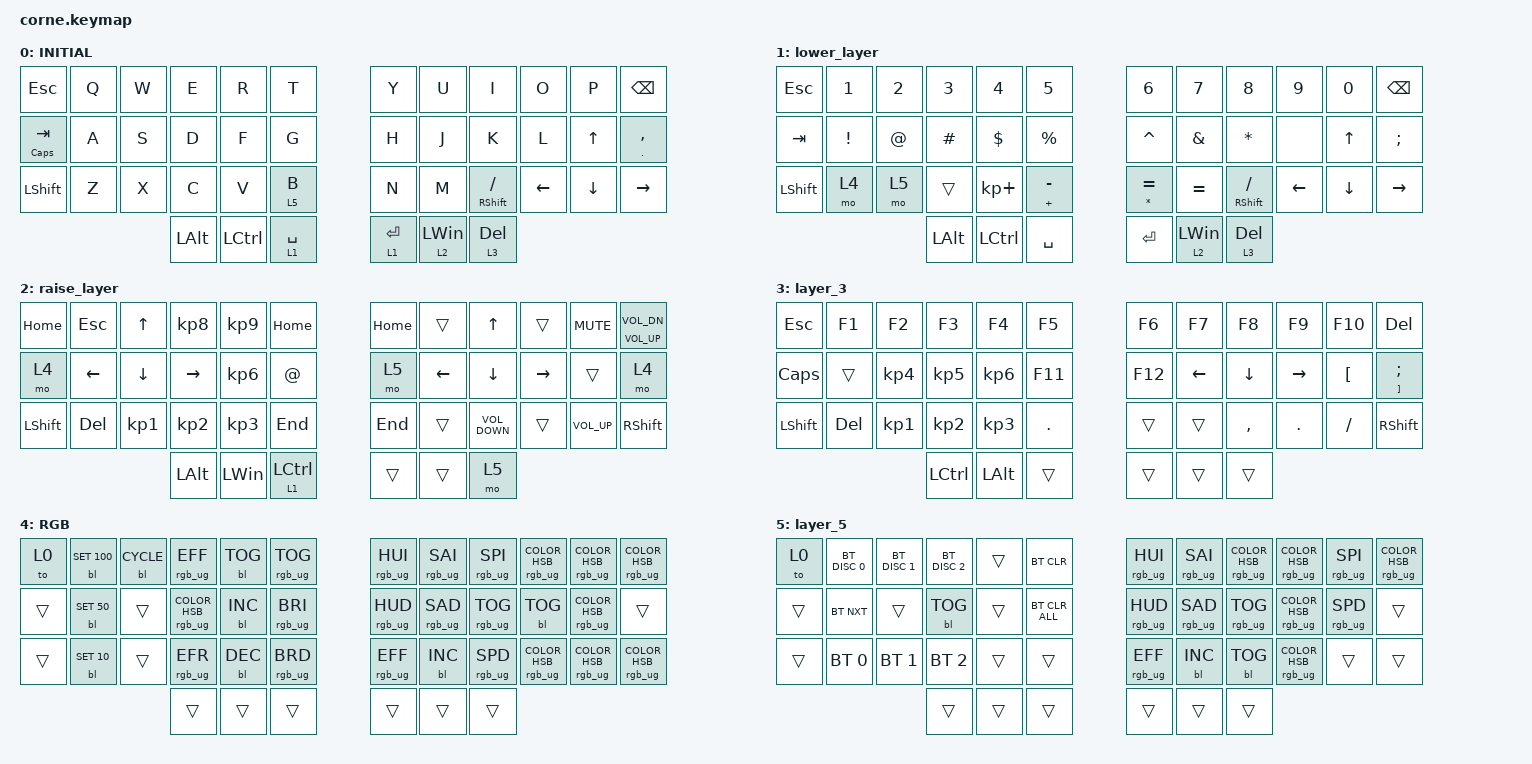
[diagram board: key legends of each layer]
#include <behaviors.dtsi>
#include <dt-bindings/zmk/backlight.h>
#include <dt-bindings/zmk/bt.h>
#include <dt-bindings/zmk/keys.h>
#include <dt-bindings/zmk/rgb.h>

/ {
    behaviors {
        hm: homerow_mods {
            compatible = "zmk,behavior-hold-tap";
            label = "HOMEROW_MODS";
            #binding-cells = <2>;
            tapping-term-ms = <175>;
            flavor = "balanced";
            bindings = <&kp>, <&kp>;

            quick-tap-ms = <180>;
            require-prior-idle-ms = <150>;
            hold-trigger-on-release;
        };

        ltq: ltq {
            compatible = "zmk,behavior-hold-tap";
            label = "LTQ";
            bindings = <&mo>, <&kp>;

            #binding-cells = <2>;
            tapping-term-ms = <200>;
            quick-tap-ms = <175>;
            flavor = "balanced";
        };
    };

    combos {
        compatible = "zmk,combos";

        left_bkt {
            bindings = <&kp LEFT_BRACKET>;
            key-positions = <4 3>;
            timeout-ms = <50>;
        };

        right_bkt {
            bindings = <&kp RBKT>;
            key-positions = <7 8>;
            timeout-ms = <50>;
        };

        left_par {
            bindings = <&kp LEFT_PARENTHESIS>;
            key-positions = <4 5>;
            timeout-ms = <50>;
        };

        right_par {
            bindings = <&kp RIGHT_PARENTHESIS>;
            key-positions = <6 7>;
            timeout-ms = <50>;
        };

        left_brace {
            bindings = <&kp LEFT_BRACE>;
            key-positions = <15 16>;
            timeout-ms = <50>;
        };

        right_brace {
            bindings = <&kp RIGHT_BRACE>;
            key-positions = <19 20>;
            timeout-ms = <50>;
        };

        bac {
            bindings = <&kp BACKSLASH>;
            key-positions = <5 6>;
        };

        pipe {
            bindings = <&kp PIPE>;
            key-positions = <17 18>;
        };

        comillas {
            bindings = <&kp DOUBLE_QUOTES>;
            key-positions = <16 17>;
        };

        ComillasSimples {
            bindings = <&kp SQT>;
            key-positions = <28 29>;
        };

        new {
            bindings = <&kp SLASH>;
            key-positions = <29 30>;
        };

        combo4 {
            bindings = <&mo 4>;
            key-positions = <0 5 3>;
        };

        combo5 {
            bindings = <&to 5>;
            key-positions = <0 3>;
        };

        end {
            bindings = <&kp END>;
            key-positions = <22 23>;
        };

        init {
            bindings = <&kp HOME>;
            key-positions = <18 19>;
        };
    };

    keymap {
        compatible = "zmk,keymap";

        INITIAL {
            bindings = <
&kp ESC       &kp Q  &kp W  &kp E     &kp R      &kp T         &kp Y         &kp U            &kp I                  &kp O     &kp P     &kp BSPC
&hm CAPS TAB  &kp A  &kp S  &kp D     &kp F      &kp G         &kp H         &kp J            &kp K                  &kp L     &kp UP    &hm PERIOD COMMA
&kp LSHFT     &kp Z  &kp X  &kp C     &kp V      &ltq 5 B      &kp N         &kp M            &hm RIGHT_SHIFT SLASH  &kp LEFT  &kp DOWN  &kp RIGHT
                            &kp LALT  &kp LCTRL  &ltq 1 SPACE  &ltq 1 ENTER  &ltq 2 LEFT_WIN  &ltq 3 DEL
            >;
        };

        lower_layer {
            bindings = <
&kp ESCAPE      &kp N1           &kp N2       &kp N3        &kp N4       &kp N5          &kp N6              &kp N7           &kp N8                 &kp N9    &kp N0    &kp BSPC
&kp TAB         &kp EXCLAMATION  &kp AT_SIGN  &kp HASH      &kp DOLLAR   &kp PERCENT     &kp CARET           &kp AMPS         &kp ASTERISK           &none     &kp UP    &kp SEMI
&kp LEFT_SHIFT  &mo 4            &mo 5        &trans        &kp KP_PLUS  &hm PLUS MINUS  &hm ASTERISK EQUAL  &kp EQUAL        &hm RIGHT_SHIFT SLASH  &kp LEFT  &kp DOWN  &kp RIGHT
                                              &kp LEFT_ALT  &kp LCTRL    &kp SPACE       &kp ENTER           &ltq 2 LEFT_WIN  &ltq 3 DEL
            >;
        };

        raise_layer {
            bindings = <
&kp HOME        &kp ESC         &kp UP_ARROW     &kp KP_NUMBER_8  &kp KP_NUMBER_9  &kp HOME             &kp HOME  &trans    &kp UP             &trans     &kp C_MUTE       &hm C_VOL_UP C_VOL_DN
&mo 4           &kp LEFT_ARROW  &kp DOWN_ARROW   &kp RIGHT_ARROW  &kp KP_NUMBER_6  &kp AT               &mo 5     &kp LEFT  &kp DOWN           &kp RIGHT  &trans           &mo 4
&kp LEFT_SHIFT  &kp DELETE      &kp KP_NUMBER_1  &kp KP_NUMBER_2  &kp KP_NUMBER_3  &kp END              &kp END   &trans    &kp C_VOLUME_DOWN  &trans     &kp C_VOLUME_UP  &kp RIGHT_SHIFT
                                                 &kp LEFT_ALT     &kp LEFT_WIN     &ltq 1 LEFT_CONTROL  &trans    &trans    &mo 5
            >;
        };

        layer_3 {
            bindings = <
&kp ESC         &kp F1      &kp F2           &kp F3           &kp F4           &kp F5   &kp F6   &kp F7    &kp F8     &kp F9      &kp F10           &kp DEL
&kp CAPSLOCK    &trans      &kp KP_NUMBER_4  &kp KP_NUMBER_5  &kp KP_NUMBER_6  &kp F11  &kp F12  &kp LEFT  &kp DOWN   &kp RIGHT   &kp LEFT_BRACKET  &hm RBKT SEMI
&kp LEFT_SHIFT  &kp DELETE  &kp KP_NUMBER_1  &kp KP_NUMBER_2  &kp KP_NUMBER_3  &kp DOT  &trans   &trans    &kp COMMA  &kp PERIOD  &kp SLASH         &kp RIGHT_SHIFT
                                             &kp LCTRL        &kp LEFT_ALT     &trans   &trans   &trans    &trans
            >;
        };

        RGB {
            bindings = <
&to 0   &bl BL_SET 100  &bl BL_CYCLE  &rgb_ug RGB_EFF                  &bl BL_TOG  &rgb_ug RGB_TOG  &rgb_ug RGB_HUI  &rgb_ug RGB_SAI  &rgb_ug RGB_SPI  &rgb_ug RGB_COLOR_HSB(43,1,33)   &rgb_ug RGB_COLOR_HSB(183,100,59)  &rgb_ug RGB_COLOR_HSB(30,93,48)
&trans  &bl BL_SET 50   &trans        &rgb_ug RGB_COLOR_HSB(0,100,24)  &bl BL_INC  &rgb_ug RGB_BRI  &rgb_ug RGB_HUD  &rgb_ug RGB_SAD  &rgb_ug RGB_TOG  &bl BL_TOG                       &rgb_ug RGB_COLOR_HSB(239,72,46)   &trans
&trans  &bl BL_SET 10   &trans        &rgb_ug RGB_EFR                  &bl BL_DEC  &rgb_ug RGB_BRD  &rgb_ug RGB_EFF  &bl BL_INC       &rgb_ug RGB_SPD  &rgb_ug RGB_COLOR_HSB(0,100,50)  &rgb_ug RGB_COLOR_HSB(63,100,77)   &rgb_ug RGB_COLOR_HSB(0,0,100)
                                      &trans                           &trans      &trans           &trans           &trans           &trans
            >;
        };

        layer_5 {
            bindings = <
&to 0   &bt BT_DISC 0  &bt BT_DISC 1  &bt BT_DISC 2  &trans  &bt BT_CLR      &rgb_ug RGB_HUI  &rgb_ug RGB_SAI  &rgb_ug RGB_COLOR_HSB(298,100,50)  &rgb_ug RGB_COLOR_HSB(142,100,49)  &rgb_ug RGB_SPI  &rgb_ug RGB_COLOR_HSB(30,93,48)
&trans  &bt BT_NXT     &trans         &bl BL_TOG     &trans  &bt BT_CLR_ALL  &rgb_ug RGB_HUD  &rgb_ug RGB_SAD  &rgb_ug RGB_TOG                    &rgb_ug RGB_COLOR_HSB(0,100,50)    &rgb_ug RGB_SPD  &trans
&trans  &bt BT_SEL 0   &bt BT_SEL 1   &bt BT_SEL 2   &trans  &trans          &rgb_ug RGB_EFF  &bl BL_INC       &bl BL_TOG                         &rgb_ug RGB_COLOR_HSB(0,0,95)      &trans           &trans
                                      &trans         &trans  &trans          &trans           &trans           &trans
            >;
        };
    };
};
